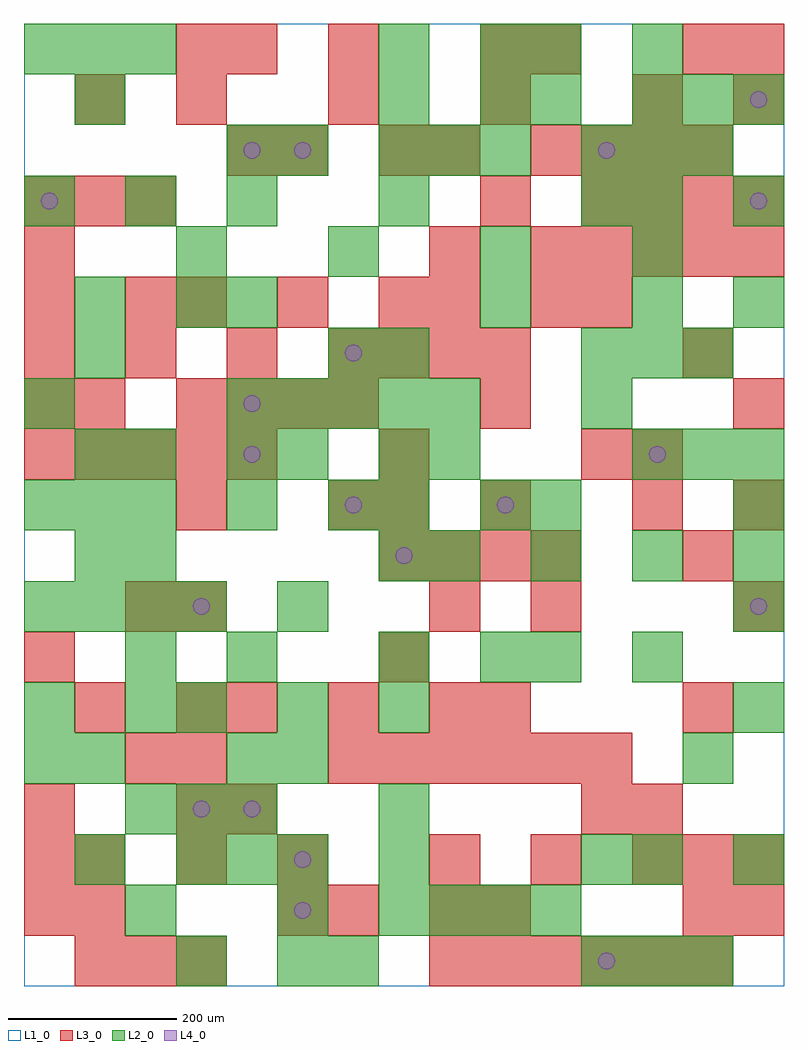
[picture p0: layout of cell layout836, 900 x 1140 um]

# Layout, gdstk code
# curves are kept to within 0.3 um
import gdstk
lib = gdstk.Library(unit=1e-6, precision=1e-09)
def R(c, l, rs):  # rectangles x0, y0, x1, y1
    for r in rs: c.add(gdstk.rectangle(r[:2], r[2:], *l))
def A(c, l, x, y, w, h, nx, ny, dx, dy):  # array of equal rectangles
    R(c, l, [(x+i*dx, y+j*dy, x+i*dx+w, y+j*dy+h) for i in range(nx) for j in range(ny)])
def P(c, l, *ps):  # polygons
    for p in ps: c.add(gdstk.Polygon(p, *l))
L1_0 = (1, 0)
L2_0 = (2, 0)
L3_0 = (3, 0)
L4_0 = (4, 0)

layout836 = lib.new_cell('layout836')
R(layout836, L1_0, [(0,0,900,1140)])
A(layout836, L2_0, 660, 0, 60, 60, 3, 2, 60, 720)
A(layout836, L2_0, 300, 60, 60, 60, 1, 4, 0, 180)
A(layout836, L2_0, 420, 60, 60, 60, 4, 1, 60, 0)
A(layout836, L2_0, 180, 120, 60, 60, 3, 1, 60, 0)
A(layout836, L2_0, 120, 180, 60, 60, 3, 1, 60, 0)
A(layout836, L2_0, 180, 300, 60, 60, 3, 1, 120, 0)
A(layout836, L2_0, 840, 300, 60, 60, 1, 3, 0, 120)
A(layout836, L2_0, 120, 360, 60, 60, 1, 3, 0, 120)
A(layout836, L2_0, 0, 420, 60, 60, 4, 1, 60, 0)
A(layout836, L2_0, 60, 480, 60, 60, 1, 3, 0, 120)
A(layout836, L2_0, 420, 480, 60, 60, 1, 3, 0, 60)
A(layout836, L2_0, 480, 480, 60, 60, 4, 1, 120, 0)
A(layout836, L2_0, 0, 540, 60, 60, 3, 2, 60, 540)
A(layout836, L2_0, 540, 540, 60, 60, 1, 3, 0, 240)
A(layout836, L2_0, 240, 600, 60, 60, 1, 3, 0, 180)
A(layout836, L2_0, 720, 600, 60, 60, 3, 2, 60, 420)
A(layout836, L2_0, 240, 660, 60, 60, 5, 1, 60, 0)
A(layout836, L2_0, 180, 840, 60, 60, 4, 1, 180, 0)
A(layout836, L2_0, 0, 900, 60, 60, 3, 1, 120, 0)
A(layout836, L2_0, 420, 960, 60, 60, 3, 1, 60, 0)
A(layout836, L2_0, 660, 960, 60, 60, 3, 1, 60, 0)
R(layout836, L2_0, [(180,0,240,60), (300,0,360,60), (360,0,420,60), (120,60,180,120), (60,120,120,180), (420,120,480,180), (660,120,720,180), (720,120,780,180), (840,120,900,180), (420,180,480,240), (0,240,60,300), (60,240,120,300), (240,240,300,300), (780,240,840,300), (0,300,60,360), (120,300,180,360), (240,360,300,420), (420,360,480,420), (540,360,600,420), (600,360,660,420), (720,360,780,420), (240,540,300,600), (360,540,420,600), (600,540,660,600), (480,600,540,660), (0,660,60,720), (660,660,720,720), (360,720,420,780), (420,720,480,780), (60,780,120,840), (180,780,240,840), (720,780,780,840), (840,780,900,840), (420,900,480,960), (660,900,720,960), (720,900,780,960), (840,900,900,960), (300,960,360,1020), (60,1020,120,1080), (420,1020,480,1080), (600,1020,660,1080), (420,1080,480,1140), (540,1080,600,1140), (600,1080,660,1140), (720,1080,780,1140)])
A(layout836, L3_0, 60, 0, 60, 60, 3, 1, 60, 0)
A(layout836, L3_0, 480, 0, 60, 60, 6, 1, 60, 0)
A(layout836, L3_0, 0, 60, 60, 60, 1, 3, 0, 60)
A(layout836, L3_0, 480, 60, 60, 60, 1, 3, 0, 360)
A(layout836, L3_0, 540, 60, 60, 60, 1, 3, 0, 240)
A(layout836, L3_0, 60, 120, 60, 60, 3, 1, 120, 0)
A(layout836, L3_0, 480, 120, 60, 60, 3, 1, 120, 0)
A(layout836, L3_0, 780, 120, 60, 60, 1, 3, 0, 180)
A(layout836, L3_0, 180, 180, 60, 60, 1, 3, 0, 60)
A(layout836, L3_0, 360, 240, 60, 60, 6, 1, 60, 0)
A(layout836, L3_0, 60, 300, 60, 60, 1, 3, 0, 360)
A(layout836, L3_0, 240, 300, 60, 60, 3, 1, 120, 0)
A(layout836, L3_0, 840, 420, 60, 60, 1, 3, 0, 120)
A(layout836, L3_0, 420, 480, 60, 60, 4, 1, 60, 0)
A(layout836, L3_0, 0, 600, 60, 60, 5, 1, 60, 0)
A(layout836, L3_0, 180, 660, 60, 60, 4, 1, 60, 0)
A(layout836, L3_0, 0, 720, 60, 60, 4, 1, 120, 0)
A(layout836, L3_0, 420, 720, 60, 60, 3, 1, 60, 0)
A(layout836, L3_0, 180, 780, 60, 60, 3, 1, 120, 0)
A(layout836, L3_0, 600, 840, 60, 60, 5, 1, 60, 0)
A(layout836, L3_0, 0, 900, 60, 60, 3, 1, 60, 0)
A(layout836, L3_0, 660, 900, 60, 60, 4, 1, 60, 0)
A(layout836, L3_0, 600, 960, 60, 60, 4, 1, 60, 0)
A(layout836, L3_0, 180, 1020, 60, 60, 4, 1, 180, 0)
R(layout836, L3_0, [(60,60,120,120), (300,60,360,120), (360,60,420,120), (780,60,840,120), (840,60,900,120), (840,120,900,180), (240,180,300,240), (660,180,720,240), (720,180,780,240), (120,240,180,300), (0,360,60,420), (420,360,480,420), (120,420,180,480), (180,420,240,480), (600,420,660,480), (180,540,240,600), (360,540,420,600), (420,540,480,600), (720,540,780,600), (420,600,480,660), (660,600,720,660), (720,600,780,660), (0,660,60,720), (540,660,600,720), (780,720,840,780), (0,780,60,840), (120,780,180,840), (600,780,660,840), (660,780,720,840), (0,840,60,900), (480,840,540,900), (540,900,600,960), (240,960,300,1020), (300,960,360,1020), (420,960,480,1020), (480,960,540,1020), (840,1020,900,1080), (180,1080,240,1140), (240,1080,300,1140), (360,1080,420,1140), (540,1080,600,1140), (600,1080,660,1140), (780,1080,840,1140), (840,1080,900,1140)])
P(layout836, L4_0, [(40,930),(39.239,933.827),(37.071,937.071),(33.827,939.239),(30,940),(26.173,939.239),(22.929,937.071),(20.761,933.827),(20,930),(20.761,926.173),(22.929,922.929),(26.173,920.761),(30,920),(33.827,920.761),(37.071,922.929),(39.239,926.173)],
  [(220,210),(219.239,213.827),(217.071,217.071),(213.827,219.239),(210,220),(206.173,219.239),(202.929,217.071),(200.761,213.827),(200,210),(200.761,206.173),(202.929,202.929),(206.173,200.761),(210,200),(213.827,200.761),(217.071,202.929),(219.239,206.173)],
  [(220,450),(219.239,453.827),(217.071,457.071),(213.827,459.239),(210,460),(206.173,459.239),(202.929,457.071),(200.761,453.827),(200,450),(200.761,446.173),(202.929,442.929),(206.173,440.761),(210,440),(213.827,440.761),(217.071,442.929),(219.239,446.173)],
  [(280,210),(279.239,213.827),(277.071,217.071),(273.827,219.239),(270,220),(266.173,219.239),(262.929,217.071),(260.761,213.827),(260,210),(260.761,206.173),(262.929,202.929),(266.173,200.761),(270,200),(273.827,200.761),(277.071,202.929),(279.239,206.173)],
  [(280,630),(279.239,633.827),(277.071,637.071),(273.827,639.239),(270,640),(266.173,639.239),(262.929,637.071),(260.761,633.827),(260,630),(260.761,626.173),(262.929,622.929),(266.173,620.761),(270,620),(273.827,620.761),(277.071,622.929),(279.239,626.173)],
  [(280,690),(279.239,693.827),(277.071,697.071),(273.827,699.239),(270,700),(266.173,699.239),(262.929,697.071),(260.761,693.827),(260,690),(260.761,686.173),(262.929,682.929),(266.173,680.761),(270,680),(273.827,680.761),(277.071,682.929),(279.239,686.173)],
  [(280,990),(279.239,993.827),(277.071,997.071),(273.827,999.239),(270,1000),(266.173,999.239),(262.929,997.071),(260.761,993.827),(260,990),(260.761,986.173),(262.929,982.929),(266.173,980.761),(270,980),(273.827,980.761),(277.071,982.929),(279.239,986.173)],
  [(340,90),(339.239,93.827),(337.071,97.071),(333.827,99.239),(330,100),(326.173,99.239),(322.929,97.071),(320.761,93.827),(320,90),(320.761,86.173),(322.929,82.929),(326.173,80.761),(330,80),(333.827,80.761),(337.071,82.929),(339.239,86.173)],
  [(340,150),(339.239,153.827),(337.071,157.071),(333.827,159.239),(330,160),(326.173,159.239),(322.929,157.071),(320.761,153.827),(320,150),(320.761,146.173),(322.929,142.929),(326.173,140.761),(330,140),(333.827,140.761),(337.071,142.929),(339.239,146.173)],
  [(340,990),(339.239,993.827),(337.071,997.071),(333.827,999.239),(330,1000),(326.173,999.239),(322.929,997.071),(320.761,993.827),(320,990),(320.761,986.173),(322.929,982.929),(326.173,980.761),(330,980),(333.827,980.761),(337.071,982.929),(339.239,986.173)],
  [(400,570),(399.239,573.827),(397.071,577.071),(393.827,579.239),(390,580),(386.173,579.239),(382.929,577.071),(380.761,573.827),(380,570),(380.761,566.173),(382.929,562.929),(386.173,560.761),(390,560),(393.827,560.761),(397.071,562.929),(399.239,566.173)],
  [(400,750),(399.239,753.827),(397.071,757.071),(393.827,759.239),(390,760),(386.173,759.239),(382.929,757.071),(380.761,753.827),(380,750),(380.761,746.173),(382.929,742.929),(386.173,740.761),(390,740),(393.827,740.761),(397.071,742.929),(399.239,746.173)],
  [(460,510),(459.239,513.827),(457.071,517.071),(453.827,519.239),(450,520),(446.173,519.239),(442.929,517.071),(440.761,513.827),(440,510),(440.761,506.173),(442.929,502.929),(446.173,500.761),(450,500),(453.827,500.761),(457.071,502.929),(459.239,506.173)],
  [(580,570),(579.239,573.827),(577.071,577.071),(573.827,579.239),(570,580),(566.173,579.239),(562.929,577.071),(560.761,573.827),(560,570),(560.761,566.173),(562.929,562.929),(566.173,560.761),(570,560),(573.827,560.761),(577.071,562.929),(579.239,566.173)],
  [(700,30),(699.239,33.827),(697.071,37.071),(693.827,39.239),(690,40),(686.173,39.239),(682.929,37.071),(680.761,33.827),(680,30),(680.761,26.173),(682.929,22.929),(686.173,20.761),(690,20),(693.827,20.761),(697.071,22.929),(699.239,26.173)],
  [(700,990),(699.239,993.827),(697.071,997.071),(693.827,999.239),(690,1000),(686.173,999.239),(682.929,997.071),(680.761,993.827),(680,990),(680.761,986.173),(682.929,982.929),(686.173,980.761),(690,980),(693.827,980.761),(697.071,982.929),(699.239,986.173)],
  [(760,630),(759.239,633.827),(757.071,637.071),(753.827,639.239),(750,640),(746.173,639.239),(742.929,637.071),(740.761,633.827),(740,630),(740.761,626.173),(742.929,622.929),(746.173,620.761),(750,620),(753.827,620.761),(757.071,622.929),(759.239,626.173)],
  [(880,450),(879.239,453.827),(877.071,457.071),(873.827,459.239),(870,460),(866.173,459.239),(862.929,457.071),(860.761,453.827),(860,450),(860.761,446.173),(862.929,442.929),(866.173,440.761),(870,440),(873.827,440.761),(877.071,442.929),(879.239,446.173)],
  [(880,930),(879.239,933.827),(877.071,937.071),(873.827,939.239),(870,940),(866.173,939.239),(862.929,937.071),(860.761,933.827),(860,930),(860.761,926.173),(862.929,922.929),(866.173,920.761),(870,920),(873.827,920.761),(877.071,922.929),(879.239,926.173)],
  [(880,1050),(879.239,1053.827),(877.071,1057.071),(873.827,1059.239),(870,1060),(866.173,1059.239),(862.929,1057.071),(860.761,1053.827),(860,1050),(860.761,1046.173),(862.929,1042.929),(866.173,1040.761),(870,1040),(873.827,1040.761),(877.071,1042.929),(879.239,1046.173)])

lib.write_gds('layout836.gds')
